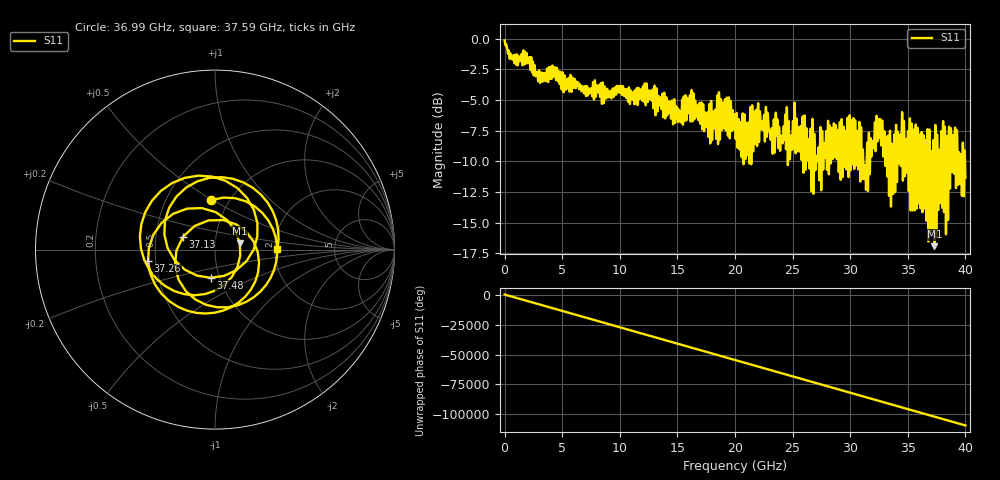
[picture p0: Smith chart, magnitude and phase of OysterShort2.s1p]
# MHz MA S R 50.0
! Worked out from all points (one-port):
!   8000 points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, 5 MHz to 40 GHz, reference 50 ohm
!   lowest |S11| = -16.9 dB at 37.3 GHz (marker M1), VSWR 1.33, Z = 65.8 + j4.78 ohm
!   |S11| at or under -10 dB: 31.13 GHz to 31.43 GHz (295.3 MHz wide, 0.944 % of centre); 37.09775 GHz to 37.19206 GHz (94.31 MHz wide, 0.254 % of centre); 39.48149 GHz to 39.58638 GHz (104.9 MHz wide, 0.265 % of centre) (the widest 3 of 74)
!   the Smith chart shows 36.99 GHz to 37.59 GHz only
!   S11 on the Smith chart (normalised r, x): 36.99 GHz: 0.83, +0.49; 37.13 GHz: 0.69, +0.10; 37.26 GHz: 0.45, -0.07; 37.48 GHz: 0.91, -0.29; 37.59 GHz: 2.07, +0.02
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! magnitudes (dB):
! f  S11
! 5 MHz  -0.1
! 5.005 GHz  -3.1
! 10.01 GHz  -4.4
! 15.01 GHz  -5.6
! 16.23 GHz  -4.2
! 17.68 GHz  -7.7
! 19.13 GHz  -4.9
! 20 GHz  -6.4
! 21.07 GHz  -9.4
! 22 GHz  -5.4
! 25 GHz  -7.4
! 27.14 GHz  -9.8
! 28.57 GHz  -7.0
! 30 GHz  -9.5
! 30.78 GHz  -7.1
! 31.21 GHz  -10.9
! 32.45 GHz  -6.7
! 33.55 GHz  -13.2
! 34.49 GHz  -6.1
! 35.01 GHz  -7.8
! 36.99 GHz  -11.2
! 37.13 GHz  -14.3
! 37.26 GHz  -8.4
! 37.3 GHz  -16.9
! 37.48 GHz  -16.0
! 37.59 GHz  -9.2
! 38.92 GHz  -7.9
! 40 GHz  -11.3
